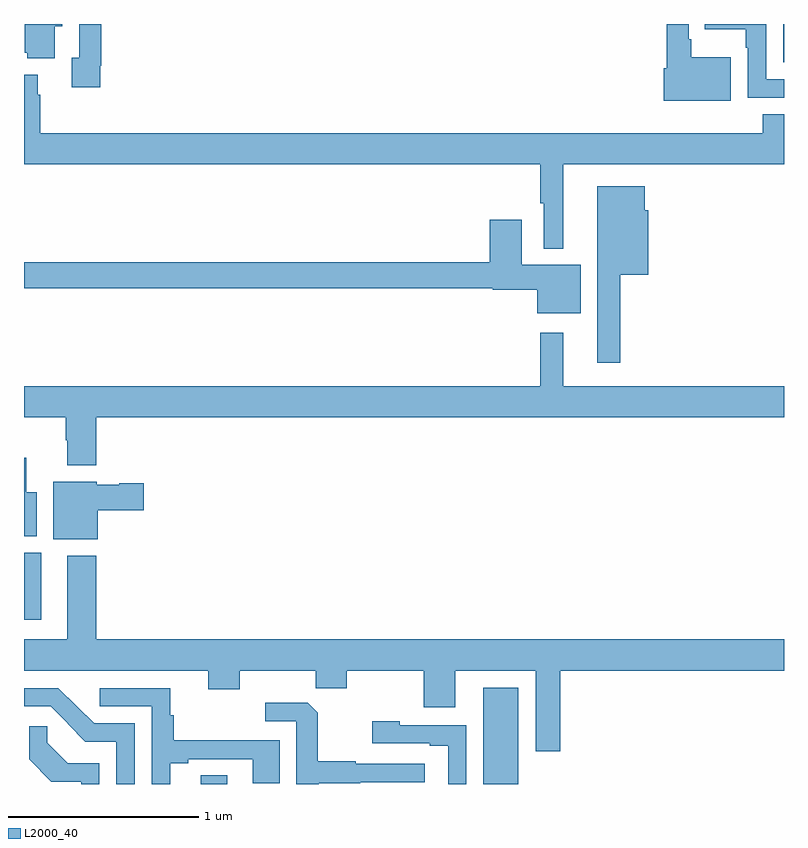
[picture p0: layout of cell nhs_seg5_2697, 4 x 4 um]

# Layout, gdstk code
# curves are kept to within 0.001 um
import gdstk
lib = gdstk.Library(unit=1e-6, precision=1e-09)
def R(c, l, rs):  # rectangles x0, y0, x1, y1
    for r in rs: c.add(gdstk.rectangle(r[:2], r[2:], *l))
def P(c, l, *ps):  # polygons
    for p in ps: c.add(gdstk.Polygon(p, *l))
L2000_40 = (2000, 40)

nhs_seg5_2697 = lib.new_cell('nhs_seg5_2697')
R(nhs_seg5_2697, L2000_40, [(267.929,886.799,268.069,886.844), (269.417,886.799,269.602,887.305), (267,887.664,267.091,888.016), (270.995,890.597,271,890.799)])
P(nhs_seg5_2697, L2000_40, [(267.163,890.786),(267.202,890.786),(267.202,890.799),(267.005,890.799),(267.005,890.649),(267.017,890.649),(267.017,890.618),(267.163,890.618)],
  [(267.4,890.578),(267.407,890.578),(267.407,890.799),(267.291,890.799),(267.291,890.622),(267.251,890.622),(267.251,890.466),(267.4,890.466)],
  [(271,890.508),(270.906,890.508),(270.906,890.799),(270.583,890.799),(270.583,890.771),(270.798,890.771),(270.798,890.675),(270.81,890.675),(270.81,890.412),(271,890.412)],
  [(270.721,890.623),(270.511,890.623),(270.511,890.719),(270.498,890.719),(270.498,890.799),(270.382,890.799),(270.382,890.567),(270.368,890.567),(270.368,890.396),(270.721,890.396)],
  [(269.839,890.06),(271,890.06),(271,890.323),(270.887,890.323),(270.887,890.224),(267.086,890.224),(267.086,890.426),(267.073,890.426),(267.073,890.533),(267,890.533),(267,890.06),(269.718,890.06),(269.718,889.855),(269.735,889.855),(269.735,889.616),(269.839,889.616)],
  [(270.139,889.478),(270.286,889.478),(270.286,889.818),(270.268,889.818),(270.268,889.945),(270.017,889.945),(270.017,889.017),(270.139,889.017)],
  [(269.929,889.531),(269.62,889.531),(269.62,889.768),(269.45,889.768),(269.45,889.544),(267,889.544),(267,889.408),(269.466,889.408),(269.466,889.4),(269.702,889.4),(269.702,889.277),(269.929,889.277)],
  [(267.38,888.728),(271,888.728),(271,888.892),(269.839,888.892),(269.839,889.174),(269.718,889.174),(269.718,888.892),(267,888.892),(267,888.728),(267.22,888.728),(267.22,888.608),(267.227,888.608),(267.227,888.476),(267.38,888.476)],
  [(267.067,888.334),(267.013,888.334),(267.013,888.517),(267,888.517),(267,888.104),(267.067,888.104)],
  [(267.388,888.239),(267.631,888.239),(267.631,888.381),(267.501,888.381),(267.501,888.373),(267.384,888.373),(267.384,888.391),(267.155,888.391),(267.155,888.086),(267.388,888.086)],
  [(269.822,887.396),(271,887.396),(271,887.56),(267.38,887.56),(267.38,888.001),(267.227,888.001),(267.227,887.56),(267,887.56),(267,887.396),(267.971,887.396),(267.971,887.297),(268.135,887.297),(268.135,887.396),(268.535,887.396),(268.535,887.303),(268.699,887.303),(268.699,887.396),(269.105,887.396),(269.105,887.202),(269.269,887.202),(269.269,887.396),(269.693,887.396),(269.693,886.971),(269.822,886.971)],
  [(267.582,887.118),(267.369,887.118),(267.181,887.304),(267,887.304),(267,887.208),(267.141,887.208),(267.231,887.118),(267.229,887.116),(267.323,887.022),(267.486,887.022),(267.486,886.799),(267.582,886.799)],
  [(267.769,886.909),(267.865,886.909),(267.865,886.929),(268.205,886.929),(268.205,886.804),(268.345,886.804),(268.345,887.03),(267.788,887.03),(267.788,887.162),(267.77,887.162),(267.77,887.304),(267.399,887.304),(267.399,887.208),(267.672,887.208),(267.672,886.799),(267.769,886.799)],
  [(268.55,886.804),(268.769,886.804),(268.769,886.808),(269.11,886.808),(269.11,886.905),(268.745,886.905),(268.745,886.918),(268.545,886.918),(268.545,887.175),(268.493,887.227),(268.269,887.227),(268.269,887.13),(268.434,887.13),(268.434,886.799),(268.55,886.799)],
  [(269.328,887.109),(268.977,887.109),(268.977,887.128),(268.833,887.128),(268.833,887.013),(269.135,887.013),(269.135,887.001),(269.232,887.001),(269.232,886.799),(269.328,886.799)],
  [(267.396,886.908),(267.23,886.908),(267.122,887.016),(267.122,887.104),(267.027,887.104),(267.027,886.928),(267.143,886.812),(267.3,886.812),(267.3,886.799),(267.396,886.799)])

lib.write_gds('nhs_seg5_2697.gds')
